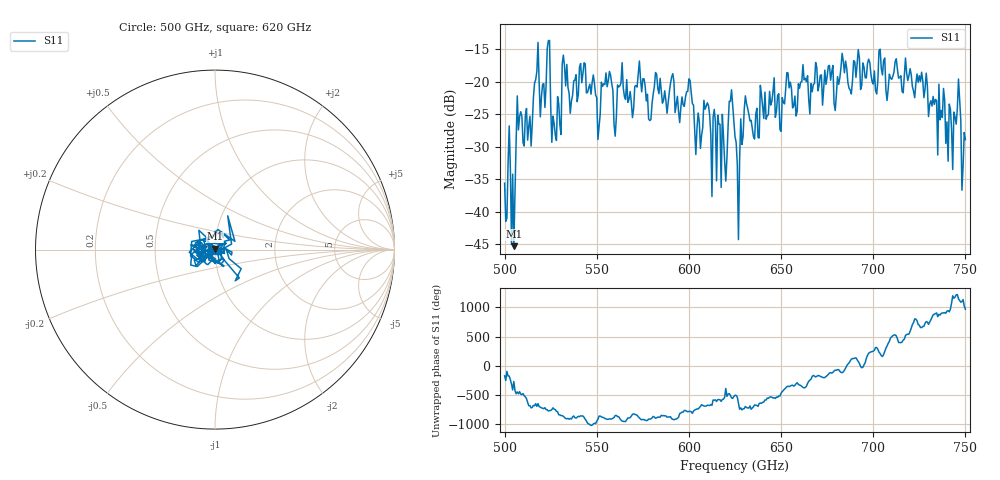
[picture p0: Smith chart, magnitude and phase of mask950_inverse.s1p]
!Created with skrf (http://scikit-rf.org).
# GHz S MA R 50.0
!freq magS11 angS11
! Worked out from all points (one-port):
!   401 points, 500 GHz to 750 GHz, reference 50 ohm
!   lowest |S11| = -45.3 dB at 505 GHz (marker M1), VSWR 1.01, Z = 50 + j0.542 ohm
!   |S11| at or under -10 dB: start of sweep to end of sweep
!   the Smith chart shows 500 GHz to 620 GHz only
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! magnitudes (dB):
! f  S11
! 500 GHz  -35.6
! 505 GHz  -45.3
! 507.5 GHz  -27.4
! 513.8 GHz  -25.3
! 517.5 GHz  -18.4
! 520.6 GHz  -20.4
! 523.8 GHz  -13.7
! 526.9 GHz  -26.5
! 531.2 GHz  -17.3
! 542.5 GHz  -18.7
! 550.6 GHz  -28.9
! 562.5 GHz  -20.7
! 590.6 GHz  -19.3
! 593.8 GHz  -22.2
! 600 GHz  -19.6
! 605 GHz  -24.8
! 609.4 GHz  -23.8
! 618.8 GHz  -28.4
! 623.1 GHz  -21.2
! 625 GHz  -28.4
! 626.2 GHz  -32.8
! 631.2 GHz  -23.3
! 656.2 GHz  -24.0
! 687.5 GHz  -21.3
! 718.8 GHz  -19.8
! 741.9 GHz  -24.2
! 746.2 GHz  -19.6
! 750 GHz  -28.9
